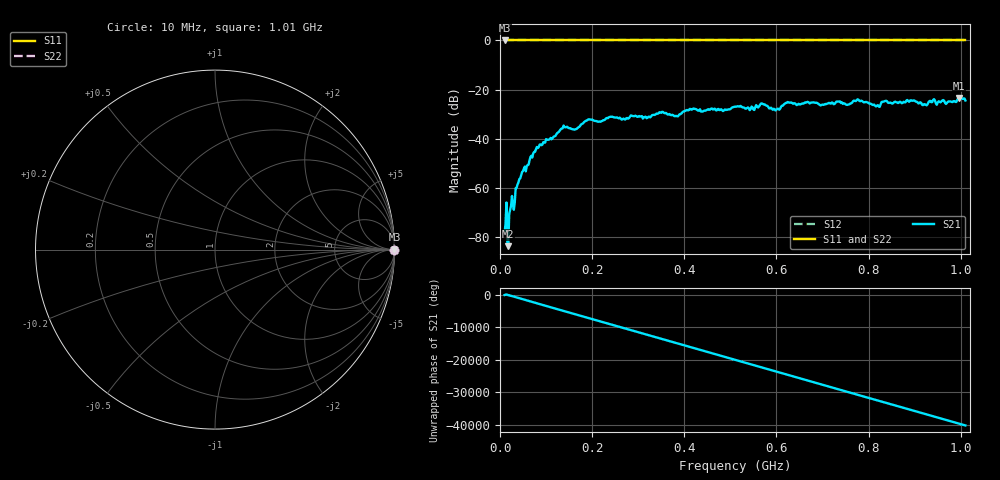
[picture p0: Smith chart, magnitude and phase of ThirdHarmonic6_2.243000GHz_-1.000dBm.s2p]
! 8/17/2025 2:38:34 AM
! C:\ANRITSUVNA\TEMP\TEMP.S2P
! CHANNEL.1
! TR.MEASUREMENT
! RAW.DATA
! RF.CORRECTION.OFF
! AVERAGING.OFF
! IF.BANDWIDTH: 5KHZ
! SWEEPTYPE:  FREQ.SWEEP(Linear)
! Reference Plane Port Info
! PORT:  PORT1  PORT2
! DISTANCE:  0  m  0  m
! TIME:  0  s  0  s
! PHASE.OFFSET:  0  deg.  0  deg.
! LOSS:  0  dB  0  dB
! REF.LOSS:  0  dB  0  dB
! REF.FREQ:  0  Hz  0  Hz
! Power Info
! POWER:  -20  dBm  -20  dBm
! EFF.POWER:  -20  dBm  -20  dBm
! SOURCE.ATTEN:  0  dB  0  dB
! TEST.ATTEN:  0  dB  0  dB
# GHZ S RI R 50.0
! FREQ.GHZ  S11RE  S11IM  S21RE  S21IM  S12RE  S12IM  S22RE  S22IM
!; PortSelection: Port_12
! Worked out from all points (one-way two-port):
!   501 points, 10 MHz to 1.01 GHz, reference 50 ohm
!   highest |S21| = -23.39 dB at 996 MHz (marker M1); lowest = -83.6 dB at 18 MHz (marker M2)
!   lowest |S11| = 0.0 dB at 10 MHz (marker M3)
!   |S11| at or under -10 dB: nowhere
!   |S22| runs from 0.0 to 0.0 dB; largest |S21 - S12| = 1.1
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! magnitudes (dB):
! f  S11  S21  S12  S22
! 10 MHz  0.0  -78.0  0.0  0.0
! 14 MHz  0.0  -65.9  0.0  0.0
! 18 MHz  0.0  -83.6  0.0  0.0
! 20 MHz  0.0  -70.5  0.0  0.0
! 24 MHz  0.0  -67.2  0.0  0.0
! 32 MHz  0.0  -66.0  0.0  0.0
! 38 MHz  0.0  -58.6  0.0  0.0
! 76 MHz  0.0  -45.3  0.0  0.0
! 136 MHz  0.0  -35.7  0.0  0.0
! 178 MHz  0.0  -33.9  0.0  0.0
! 344 MHz  0.0  -29.6  0.0  0.0
! 382 MHz  0.0  -30.6  0.0  0.0
! 416 MHz  0.0  -28.2  0.0  0.0
! 510 MHz  0.0  -26.9  0.0  0.0
! 570 MHz  0.0  -25.7  0.0  0.0
! 602 MHz  0.0  -27.8  0.0  0.0
! 624 MHz  0.0  -25.0  0.0  0.0
! 678 MHz  0.0  -25.2  0.0  0.0
! 844 MHz  0.0  -25.4  0.0  0.0
! 922 MHz  0.0  -25.9  0.0  0.0
! 996 MHz  0.0  -23.4  0.0  0.0
! 1.01 GHz  0.0  -24.4  0.0  0.0
